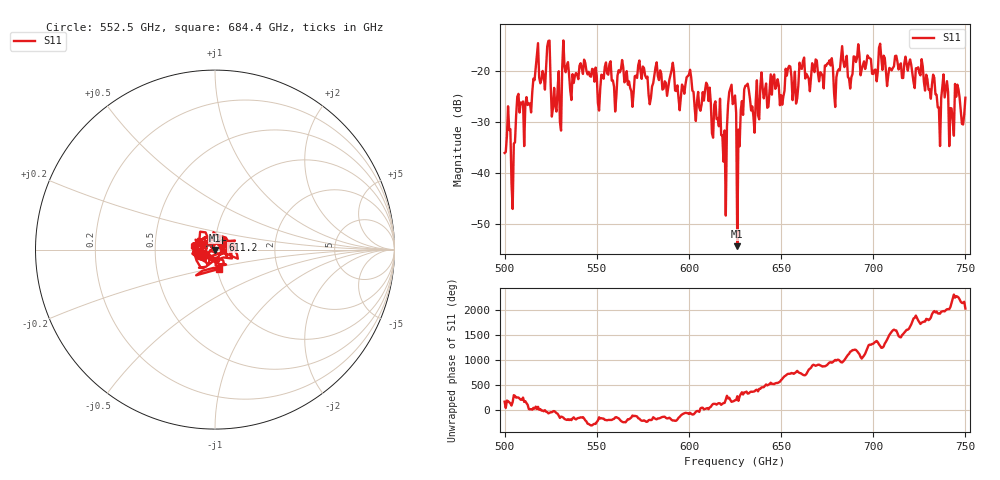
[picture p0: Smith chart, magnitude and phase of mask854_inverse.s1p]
!Created with skrf (http://scikit-rf.org).
# GHz S MA R 50.0
!freq magS11 angS11
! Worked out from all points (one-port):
!   401 points, 500 GHz to 750 GHz, reference 50 ohm
!   lowest |S11| = -54.4 dB at 626.2 GHz (marker M1), VSWR 1.00, Z = 50 - j0.187 ohm
!   |S11| at or under -10 dB: start of sweep to end of sweep
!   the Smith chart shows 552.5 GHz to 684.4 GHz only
!   S11 on the Smith chart (normalised r, x): 552.5 GHz: 0.84, -0.05; 611.2 GHz: 1.08, +0.12; 684.4 GHz: 1.02, -0.22
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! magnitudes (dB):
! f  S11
! 500 GHz  -36.1
! 505 GHz  -34.2
! 507.5 GHz  -24.4
! 511.9 GHz  -25.1
! 516.9 GHz  -19.3
! 523.8 GHz  -14.0
! 526.9 GHz  -23.2
! 531.2 GHz  -19.3
! 533.1 GHz  -20.2
! 552.5 GHz  -20.6
! 562.5 GHz  -20.2
! 593.8 GHz  -22.7
! 611.2 GHz  -23.2
! 618.8 GHz  -37.8
! 622.5 GHz  -23.4
! 625 GHz  -24.7
! 626.2 GHz  -54.4
! 631.2 GHz  -22.8
! 635 GHz  -28.9
! 656.2 GHz  -25.7
! 684.4 GHz  -19.1
! 687.5 GHz  -23.4
! 718.8 GHz  -19.8
! 735.6 GHz  -27.1
! 739.4 GHz  -23.5
! 742.5 GHz  -27.3
! 745.6 GHz  -22.6
! 750 GHz  -25.2
